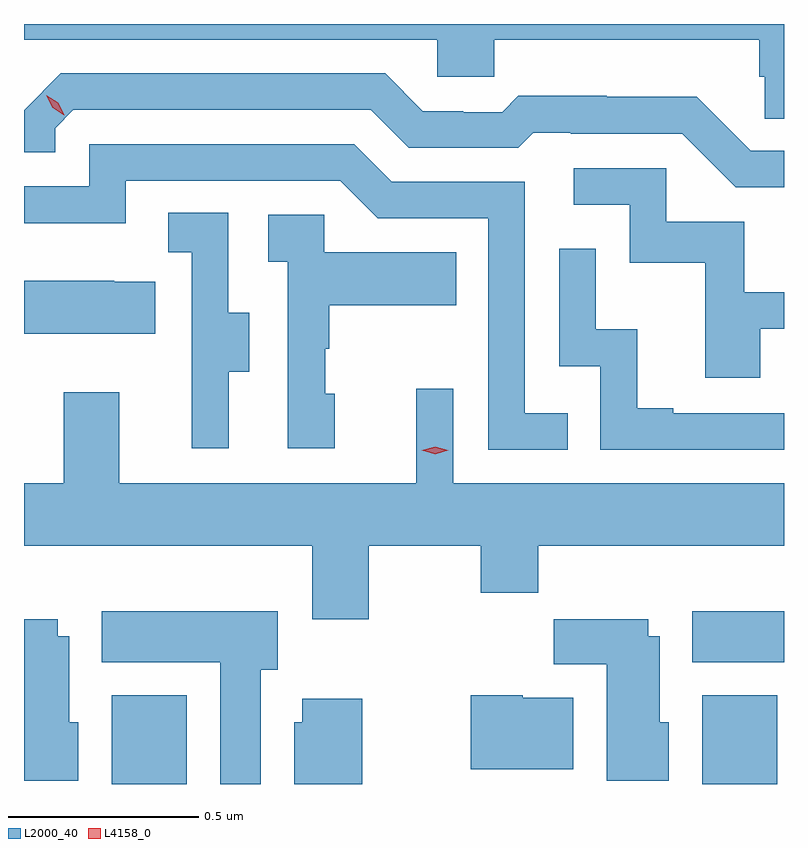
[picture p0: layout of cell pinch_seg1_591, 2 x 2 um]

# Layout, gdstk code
import gdstk
lib = gdstk.Library(unit=1e-6, precision=1e-09)
def R(c, l, rs):  # rectangles x0, y0, x1, y1
    for r in rs: c.add(gdstk.rectangle(r[:2], r[2:], *l))
def P(c, l, *ps):  # polygons
    for p in ps: c.add(gdstk.Polygon(p, *l))
L2000_40 = (2000, 40)
L4158_0 = (4158, 0)

pinch_seg1_591 = lib.new_cell('pinch_seg1_591')
R(pinch_seg1_591, L2000_40, [(1068.383,512.477,1068.58,512.71), (1069.937,512.477,1070.134,512.71), (1069.91,512.798,1070.152,512.932)])
P(pinch_seg1_591, L2000_40, [(1070.152,514.477),(1068.152,514.477),(1068.152,514.436),(1069.239,514.436),(1069.239,514.338),(1069.389,514.338),(1069.389,514.436),(1070.087,514.436),(1070.087,514.338),(1070.101,514.338),(1070.101,514.228),(1070.152,514.228)],
  [(1070.152,514.143),(1070.064,514.143),(1069.922,514.285),(1069.686,514.285),(1069.686,514.288),(1069.453,514.288),(1069.411,514.245),(1069.308,514.245),(1069.308,514.248),(1069.201,514.248),(1069.102,514.347),(1068.249,514.347),(1068.152,514.25),(1068.152,514.14),(1068.234,514.14),(1068.234,514.203),(1068.282,514.251),(1069.065,514.251),(1069.164,514.152),(1069.453,514.152),(1069.492,514.191),(1069.591,514.191),(1069.591,514.188),(1069.884,514.188),(1070.025,514.047),(1070.152,514.047)],
  [(1069.583,513.453),(1069.47,513.453),(1069.47,514.062),(1069.12,514.062),(1069.021,514.161),(1068.324,514.161),(1068.324,514.05),(1068.152,514.05),(1068.152,513.953),(1068.42,513.953),(1068.42,514.065),(1068.984,514.065),(1069.083,513.966),(1069.374,513.966),(1069.374,513.357),(1069.583,513.357)],
  [(1070.089,513.675),(1070.152,513.675),(1070.152,513.771),(1070.047,513.771),(1070.047,513.957),(1069.842,513.957),(1069.842,514.098),(1069.599,514.098),(1069.599,514.002),(1069.746,514.002),(1069.746,513.849),(1069.945,513.849),(1069.945,513.546),(1070.089,513.546)],
  [(1068.691,513.562),(1068.745,513.562),(1068.745,513.717),(1068.69,513.717),(1068.69,513.98),(1068.531,513.98),(1068.531,513.877),(1068.594,513.877),(1068.594,513.573),(1068.593,513.573),(1068.593,513.36),(1068.691,513.36)],
  [(1068.97,513.504),(1068.945,513.504),(1068.945,513.623),(1068.955,513.623),(1068.955,513.737),(1069.289,513.737),(1069.289,513.877),(1068.942,513.877),(1068.942,513.975),(1068.795,513.975),(1068.795,513.851),(1068.846,513.851),(1068.846,513.36),(1068.97,513.36)],
  [(1070.152,513.453),(1069.861,513.453),(1069.861,513.466),(1069.766,513.466),(1069.766,513.674),(1069.656,513.674),(1069.656,513.886),(1069.56,513.886),(1069.56,513.576),(1069.668,513.576),(1069.668,513.357),(1070.152,513.357)],
  [(1068.497,513.799),(1068.389,513.799),(1068.389,513.802),(1068.152,513.802),(1068.152,513.662),(1068.497,513.662)],
  [(1069.059,513.104),(1069.354,513.104),(1069.354,512.98),(1069.505,512.98),(1069.505,513.104),(1070.152,513.104),(1070.152,513.268),(1069.281,513.268),(1069.281,513.517),(1069.184,513.517),(1069.184,513.268),(1068.403,513.268),(1068.403,513.508),(1068.256,513.508),(1068.256,513.268),(1068.152,513.268),(1068.152,513.104),(1068.911,513.104),(1068.911,512.91),(1069.059,512.91)],
  [(1068.775,512.778),(1068.82,512.778),(1068.82,512.932),(1068.356,512.932),(1068.356,512.798),(1068.668,512.798),(1068.668,512.477),(1068.775,512.477)],
  [(1069.849,512.64),(1069.825,512.64),(1069.825,512.866),(1069.795,512.866),(1069.795,512.911),(1069.546,512.911),(1069.546,512.792),(1069.685,512.792),(1069.685,512.486),(1069.849,512.486)],
  [(1068.295,512.64),(1068.271,512.64),(1068.271,512.866),(1068.241,512.866),(1068.241,512.91),(1068.152,512.91),(1068.152,512.486),(1068.295,512.486)],
  [(1069.597,512.704),(1069.464,512.704),(1069.464,512.71),(1069.328,512.71),(1069.328,512.516),(1069.597,512.516)],
  [(1069.042,512.701),(1068.884,512.701),(1068.884,512.64),(1068.863,512.64),(1068.863,512.477),(1069.042,512.477)])
P(pinch_seg1_591, L4158_0, [(1068.258,514.237),(1068.227,514.257),(1068.211,514.289),(1068.211,514.29),(1068.211,514.29),(1068.242,514.27),(1068.258,514.237),(1068.258,514.237)],
  [(1069.234,513.345),(1069.199,513.355),(1069.199,513.355),(1069.199,513.355),(1069.234,513.365),(1069.269,513.355),(1069.269,513.355),(1069.269,513.355)])

lib.write_gds('pinch_seg1_591.gds')
